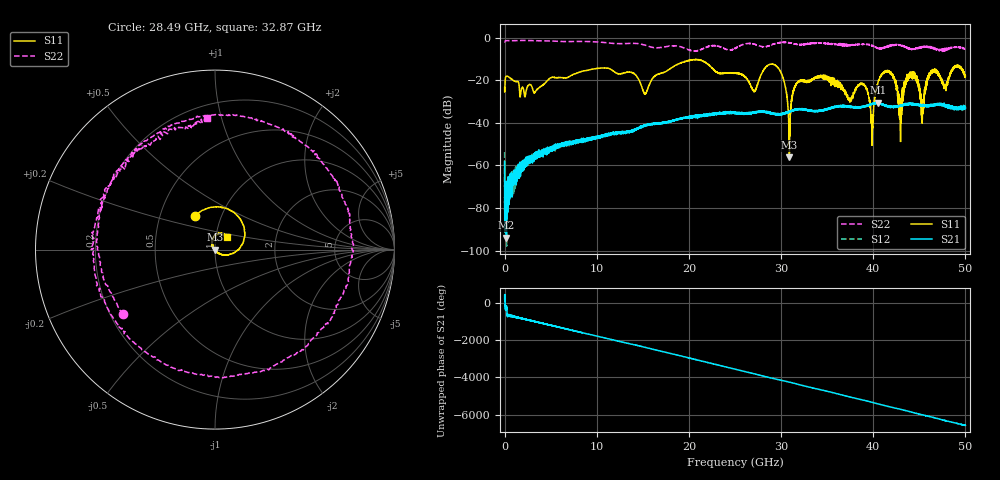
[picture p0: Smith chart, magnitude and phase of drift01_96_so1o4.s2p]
!Created with skrf (http://scikit-rf.org).
# Hz S RI R 50.0
!freq ReS11 ImS11 ReS21 ImS21 ReS12 ImS12 ReS22 ImS22
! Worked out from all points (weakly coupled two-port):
!   10001 points, 300 kHz to 50 GHz, reference 50 ohm
!   highest |S21| = -30.50 dB at 40.56 GHz (marker M1); lowest = -93.9 dB at 195.3 MHz (marker M2)
!   lowest |S11| = -56.2 dB at 30.9 GHz (marker M3), VSWR 1.00, Z = 49.8 - j0.0331 ohm
!   |S11| at or under -10 dB: start of sweep to end of sweep
!   |S22| runs from -6.5 to -1.4 dB; largest |S21 - S12| = 0.0041
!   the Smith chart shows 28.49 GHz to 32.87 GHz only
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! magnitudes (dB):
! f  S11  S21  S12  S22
! 300 kHz  -23.5  -58.3  -53.8  -2.1
! 195.3 MHz  -18.1  -93.9  -75.3  -1.4
! 2.425 GHz  -23.5  -58.1  -58.0  -1.4
! 8.335 GHz  -15.9  -48.8  -48.8  -1.8
! 15.24 GHz  -26.4  -41.4  -41.3  -3.5
! 16.67 GHz  -17.1  -40.3  -40.4  -4.8
! 25 GHz  -16.7  -35.2  -35.7  -5.1
! 27.1 GHz  -25.2  -35.1  -35.3  -3.2
! 29.43 GHz  -13.1  -36.2  -36.0  -2.7
! 30.9 GHz  -56.2  -34.6  -34.8  -2.5
! 31.66 GHz  -21.6  -33.6  -33.6  -3.1
! 33.34 GHz  -19.6  -34.4  -34.3  -2.7
! 37.5 GHz  -29.1  -32.6  -32.6  -3.5
! 38.91 GHz  -22.0  -32.3  -32.4  -3.0
! 39.88 GHz  -46.0  -31.2  -31.2  -3.7
! 40.56 GHz  -20.2  -30.5  -30.9  -5.0
! 41.67 GHz  -16.1  -32.0  -32.4  -4.1
! 42.92 GHz  -35.7  -32.1  -32.3  -3.6
! 44.05 GHz  -16.3  -31.1  -31.0  -5.4
! 45.31 GHz  -40.2  -31.7  -31.8  -4.5
! 46.45 GHz  -15.1  -31.6  -31.7  -4.6
! 50 GHz  -17.9  -33.3  -32.3  -5.5
